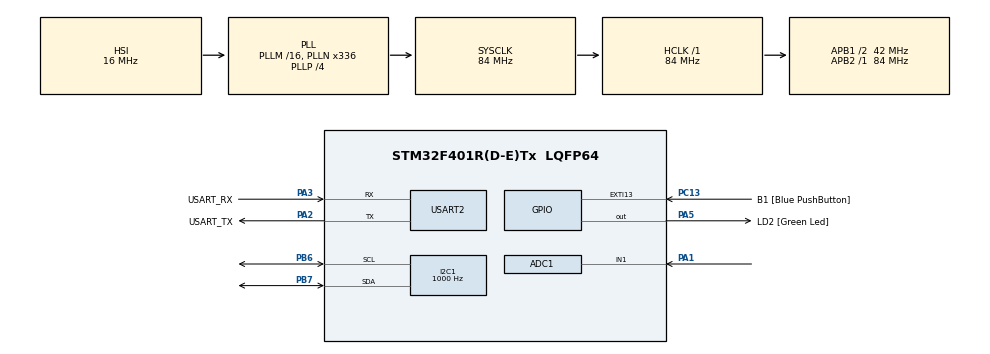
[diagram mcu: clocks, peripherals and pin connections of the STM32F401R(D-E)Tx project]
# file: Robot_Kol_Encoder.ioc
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ADC1.Channel-0\#ChannelRegularConversion=ADC_CHANNEL_1
ADC1.ContinuousConvMode=DISABLE
ADC1.EOCSelection=ADC_EOC_SINGLE_CONV
ADC1.ExternalTrigConv=ADC_SOFTWARE_START
ADC1.InjNumberOfConversion=0
ADC1.NbrOfConversionFlag=1
ADC1.Rank-0\#ChannelRegularConversion=1
ADC1.SamplingTime-0\#ChannelRegularConversion=ADC_SAMPLETIME_56CYCLES
ADC1.ScanConvMode=DISABLE
ADC1.master=1
I2C1.ClockSpeed=1000
Mcu.Family=STM32F4
Mcu.Name=STM32F401R(D-E)Tx
Mcu.Package=LQFP64
NVIC.PriorityGroup=NVIC_PRIORITYGROUP_4
PA1.Signal=ADCx_IN1
PA13.GPIO_Label=TMS
PA13.Mode=Trace_Asynchronous_SW
PA13.Signal=SYS_JTMS-SWDIO
PA14.GPIO_Label=TCK
PA14.Mode=Trace_Asynchronous_SW
PA14.Signal=SYS_JTCK-SWCLK
PA2.GPIO_Label=USART_TX
PA2.GPIO_Mode=GPIO_MODE_AF_PP
PA2.GPIO_PuPd=GPIO_NOPULL
PA2.GPIO_Speed=GPIO_SPEED_FREQ_LOW
PA2.Mode=Asynchronous
PA2.Signal=USART2_TX
PA3.GPIO_Label=USART_RX
PA3.GPIO_Mode=GPIO_MODE_AF_PP
PA3.GPIO_PuPd=GPIO_NOPULL
PA3.GPIO_Speed=GPIO_SPEED_FREQ_LOW
PA3.Mode=Asynchronous
PA3.Signal=USART2_RX
PA5.GPIO_Label=LD2 [Green Led]
PA5.GPIO_Mode=GPIO_MODE_OUTPUT_PP
PA5.GPIO_PuPd=GPIO_NOPULL
PA5.GPIO_Speed=GPIO_SPEED_FREQ_LOW
PA5.Signal=GPIO_Output
PB3.GPIO_Label=SWO
PB3.Mode=Trace_Asynchronous_SW
PB3.Signal=SYS_JTDO-SWO
PB6.Mode=I2C
PB6.Signal=I2C1_SCL
PB7.Mode=I2C
PB7.Signal=I2C1_SDA
PC13-ANTI_TAMP.GPIO_Label=B1 [Blue PushButton]
PC13-ANTI_TAMP.GPIO_ModeDefaultEXTI=GPIO_MODE_IT_FALLING
PC13-ANTI_TAMP.GPIO_PuPd=GPIO_NOPULL
PC13-ANTI_TAMP.Signal=GPXTI13
PC14-OSC32_IN.Mode=LSE-External-Oscillator
PC14-OSC32_IN.Signal=RCC_OSC32_IN
PC15-OSC32_OUT.Mode=LSE-External-Oscillator
PC15-OSC32_OUT.Signal=RCC_OSC32_OUT
PH0\ -\ OSC_IN.Mode=HSE-External-Clock-Source
PH0\ -\ OSC_IN.Signal=RCC_OSC_IN
PH1\ -\ OSC_OUT.Mode=HSE-External-Clock-Source
PH1\ -\ OSC_OUT.Signal=RCC_OSC_OUT
ProjectManager.HeapSize=0x200
ProjectManager.StackSize=0x400
ProjectManager.TargetToolchain=STM32CubeIDE
RCC.48MHZClocksFreq_Value=48000000
RCC.AHBFreq_Value=84000000
RCC.APB1CLKDivider=RCC_HCLK_DIV2
RCC.APB1Freq_Value=42000000
RCC.APB1TimFreq_Value=84000000
RCC.APB2Freq_Value=84000000
RCC.APB2TimFreq_Value=84000000
RCC.CortexFreq_Value=84000000
RCC.HCLKFreq_Value=84000000
RCC.HSE_VALUE=8000000
RCC.HSI_VALUE=16000000
RCC.PLLN=336
RCC.PLLP=RCC_PLLP_DIV4
RCC.PLLQ=7
RCC.SYSCLKFreq_VALUE=84000000
RCC.SYSCLKSource=RCC_SYSCLKSOURCE_PLLCLK
RCC.VCOOutputFreq_Value=336000000
SH.ADCx_IN1.0=ADC1_IN1,IN1
USART2.VirtualMode=VM_ASYNC
board=NUCLEO-F401RE

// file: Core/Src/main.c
/* USER CODE BEGIN Header */
/**
  ******************************************************************************
  * @file           : main.c
  * @brief          : Main program body
  ******************************************************************************
  * @attention
  *
  * Copyright (c) 2025 STMicroelectronics.
  * All rights reserved.
  *
  * This software is licensed under terms that can be found in the LICENSE file
  * in the root directory of this software component.
  * If no LICENSE file comes with this software, it is provided AS-IS.
  *
  ******************************************************************************
  */
/* USER CODE END Header */
#include "main.h"

ADC_HandleTypeDef hadc1;

I2C_HandleTypeDef hi2c1;

UART_HandleTypeDef huart2;

void SystemClock_Config(void);
static void MX_GPIO_Init(void);
static void MX_USART2_UART_Init(void);
static void MX_ADC1_Init(void);
static void MX_I2C1_Init(void);
uint8_t read_register(uint8_t Sensor_register);

/* USER CODE BEGIN PFP */
#define ams5600_Address (0x36 << 1)
#define addr_raw_angle 0x0C
#define CONF_REG 0x07
#define ANALOG_MODE 0x00
HAL_StatusTypeDef stat;

/* USER CODE END PFP */

/* USER CODE BEGIN 0 */
float angle;
uint8_t config_value = ANALOG_MODE;

uint16_t readTwo_register(uint8_t Sensor_register)
{
      int highByte = read_register(Sensor_register );
      int lowByte  = read_register(Sensor_register+1);
      return ( highByte << 8 ) | lowByte;
}

uint8_t read_register(uint8_t Sensor_register)
{
    HAL_StatusTypeDef status;
    uint8_t return_value = 0;

    status = HAL_I2C_Mem_Read(&hi2c1,ams5600_Address ,Sensor_register, I2C_MEMADD_SIZE_8BIT, &return_value, 1, 100);
    HAL_Delay(10);
    /* Check the communication status */
    if(status != HAL_OK)
    {
        printf("I2C read status error =%#x \n\r",status);
                /*
    HAL_ERROR    = 0x01U,
    HAL_BUSY     = 0x02U,
    HAL_TIMEOUT  = 0x03U
                 */
    }

    return return_value;
}

void write_register(uint8_t Sensor_register, uint8_t register_value)
{
    HAL_StatusTypeDef status = HAL_OK;

    status = HAL_I2C_Mem_Write(&hi2c1,ams5600_Address , Sensor_register, I2C_MEMADD_SIZE_8BIT, &register_value,1, 100);
    HAL_Delay(10);
    /* Check the communication status */
    if(status != HAL_OK)
    {
        printf("I2C write status error =%#x \n\r",status);// Error handling, for example re-initialization of the I2C peripheral
    }
}

uint16_t getRawAngle()
{
    return readTwo_register(addr_raw_angle);
}

float convertRawAngleToDegrees(uint16_t newAngle)
{
  /* Raw data reports 0 - 4095 segments, which is 0.087 of a degree */
  float retVal = newAngle * 0.087;
  return retVal;
}
/* USER CODE END 0 */

int main(void)
{

  /* MCU Configuration--------------------------------------------------------*/

  /* Reset of all peripherals, Initializes the Flash interface and the Systick. */
  HAL_Init();

  /* Configure the system clock */
  SystemClock_Config();

  /* Initialize all configured peripherals */
  MX_GPIO_Init();
  MX_USART2_UART_Init();
  MX_ADC1_Init();
  MX_I2C1_Init();
  /*  i2c
  HAL_I2C_Mem_Write(&hi2c1, ams5600_Address, CONF_REG, I2C_MEMADD_SIZE_8BIT, &config_value, 1, HAL_MAX_DELAY);
  stat = HAL_I2C_Mem_Read(&hi2c1, ams5600_Address, CONF_REG, I2C_MEMADD_SIZE_8BIT, &config_value, 1, HAL_MAX_DELAY);
  */

  /* Infinite loop */
  /* USER CODE BEGIN WHILE */
  while (1)
  {
	  /* i2c okuma
	  uint16_t raw_angle = getRawAngle();
	  //angle = convertRawAngleToDegrees(raw_angle);
       */

      HAL_ADC_Start(&hadc1);
      if (HAL_ADC_PollForConversion(&hadc1, HAL_MAX_DELAY) == HAL_OK)
      {
         float raw_angle = HAL_ADC_GetValue(&hadc1);
                  // Process adc_value as needed
         angle = (raw_angle/4095) *360;
      }

    /* USER CODE END WHILE */

  }
}

void SystemClock_Config(void)
{
  RCC_OscInitTypeDef RCC_OscInitStruct = {0};
  RCC_ClkInitTypeDef RCC_ClkInitStruct = {0};

  /** Configure the main internal regulator output voltage
  */
  __HAL_RCC_PWR_CLK_ENABLE();
  __HAL_PWR_VOLTAGESCALING_CONFIG(PWR_REGULATOR_VOLTAGE_SCALE2);

  /** Initializes the RCC Oscillators according to the specified parameters
  * in the RCC_OscInitTypeDef structure.
  */
  RCC_OscInitStruct.OscillatorType = RCC_OSCILLATORTYPE_HSI;
  RCC_OscInitStruct.HSIState = RCC_HSI_ON;
  RCC_OscInitStruct.HSICalibrationValue = RCC_HSICALIBRATION_DEFAULT;
  RCC_OscInitStruct.PLL.PLLState = RCC_PLL_ON;
  RCC_OscInitStruct.PLL.PLLSource = RCC_PLLSOURCE_HSI;
  RCC_OscInitStruct.PLL.PLLM = 16;
  RCC_OscInitStruct.PLL.PLLN = 336;
  RCC_OscInitStruct.PLL.PLLP = RCC_PLLP_DIV4;
  RCC_OscInitStruct.PLL.PLLQ = 7;
  if (HAL_RCC_OscConfig(&RCC_OscInitStruct) != HAL_OK)
  {
    Error_Handler();
  }

  /** Initializes the CPU, AHB and APB buses clocks
  */
  RCC_ClkInitStruct.ClockType = RCC_CLOCKTYPE_HCLK|RCC_CLOCKTYPE_SYSCLK
                              |RCC_CLOCKTYPE_PCLK1|RCC_CLOCKTYPE_PCLK2;
  RCC_ClkInitStruct.SYSCLKSource = RCC_SYSCLKSOURCE_PLLCLK;
  RCC_ClkInitStruct.AHBCLKDivider = RCC_SYSCLK_DIV1;
  RCC_ClkInitStruct.APB1CLKDivider = RCC_HCLK_DIV2;
  RCC_ClkInitStruct.APB2CLKDivider = RCC_HCLK_DIV1;

  if (HAL_RCC_ClockConfig(&RCC_ClkInitStruct, FLASH_LATENCY_2) != HAL_OK)
  {
    Error_Handler();
  }
}

static void MX_ADC1_Init(void)
{

  ADC_ChannelConfTypeDef sConfig = {0};

  /** Configure the global features of the ADC (Clock, Resolution, Data Alignment and number of conversion)
  */
  hadc1.Instance = ADC1;
  hadc1.Init.ClockPrescaler = ADC_CLOCK_SYNC_PCLK_DIV4;
  hadc1.Init.Resolution = ADC_RESOLUTION_12B;
  hadc1.Init.ScanConvMode = DISABLE;
  hadc1.Init.ContinuousConvMode = DISABLE;
  hadc1.Init.DiscontinuousConvMode = DISABLE;
  hadc1.Init.ExternalTrigConvEdge = ADC_EXTERNALTRIGCONVEDGE_NONE;
  hadc1.Init.ExternalTrigConv = ADC_SOFTWARE_START;
  hadc1.Init.DataAlign = ADC_DATAALIGN_RIGHT;
  hadc1.Init.NbrOfConversion = 1;
  hadc1.Init.DMAContinuousRequests = DISABLE;
  hadc1.Init.EOCSelection = ADC_EOC_SINGLE_CONV;
  if (HAL_ADC_Init(&hadc1) != HAL_OK)
  {
    Error_Handler();
  }

  /** Configure for the selected ADC regular channel its corresponding rank in the sequencer and its sample time.
  */
  sConfig.Channel = ADC_CHANNEL_1;
  sConfig.Rank = 1;
  sConfig.SamplingTime = ADC_SAMPLETIME_56CYCLES;
  if (HAL_ADC_ConfigChannel(&hadc1, &sConfig) != HAL_OK)
  {
    Error_Handler();
  }

}

static void MX_I2C1_Init(void)
{

  hi2c1.Instance = I2C1;
  hi2c1.Init.ClockSpeed = 1000;
  hi2c1.Init.DutyCycle = I2C_DUTYCYCLE_2;
  hi2c1.Init.OwnAddress1 = 0;
  hi2c1.Init.AddressingMode = I2C_ADDRESSINGMODE_7BIT;
  hi2c1.Init.DualAddressMode = I2C_DUALADDRESS_DISABLE;
  hi2c1.Init.OwnAddress2 = 0;
  hi2c1.Init.GeneralCallMode = I2C_GENERALCALL_DISABLE;
  hi2c1.Init.NoStretchMode = I2C_NOSTRETCH_DISABLE;
  if (HAL_I2C_Init(&hi2c1) != HAL_OK)
  {
    Error_Handler();
  }

}

static void MX_USART2_UART_Init(void)
{

  huart2.Instance = USART2;
  huart2.Init.BaudRate = 115200;
  huart2.Init.WordLength = UART_WORDLENGTH_8B;
  huart2.Init.StopBits = UART_STOPBITS_1;
  huart2.Init.Parity = UART_PARITY_NONE;
  huart2.Init.Mode = UART_MODE_TX_RX;
  huart2.Init.HwFlowCtl = UART_HWCONTROL_NONE;
  huart2.Init.OverSampling = UART_OVERSAMPLING_16;
  if (HAL_UART_Init(&huart2) != HAL_OK)
  {
    Error_Handler();
  }

}

static void MX_GPIO_Init(void)
{
  GPIO_InitTypeDef GPIO_InitStruct = {0};

  /* GPIO Ports Clock Enable */
  __HAL_RCC_GPIOC_CLK_ENABLE();
  __HAL_RCC_GPIOH_CLK_ENABLE();
  __HAL_RCC_GPIOA_CLK_ENABLE();
  __HAL_RCC_GPIOB_CLK_ENABLE();

  /*Configure GPIO pin Output Level */
  HAL_GPIO_WritePin(LD2_GPIO_Port, LD2_Pin, GPIO_PIN_RESET);

  /*Configure GPIO pin : B1_Pin */
  GPIO_InitStruct.Pin = B1_Pin;
  GPIO_InitStruct.Mode = GPIO_MODE_IT_FALLING;
  GPIO_InitStruct.Pull = GPIO_NOPULL;
  HAL_GPIO_Init(B1_GPIO_Port, &GPIO_InitStruct);

  /*Configure GPIO pin : LD2_Pin */
  GPIO_InitStruct.Pin = LD2_Pin;
  GPIO_InitStruct.Mode = GPIO_MODE_OUTPUT_PP;
  GPIO_InitStruct.Pull = GPIO_NOPULL;
  GPIO_InitStruct.Speed = GPIO_SPEED_FREQ_LOW;
  HAL_GPIO_Init(LD2_GPIO_Port, &GPIO_InitStruct);

}

void Error_Handler(void)
{
  __disable_irq();
  while (1)
  {
  }
}
